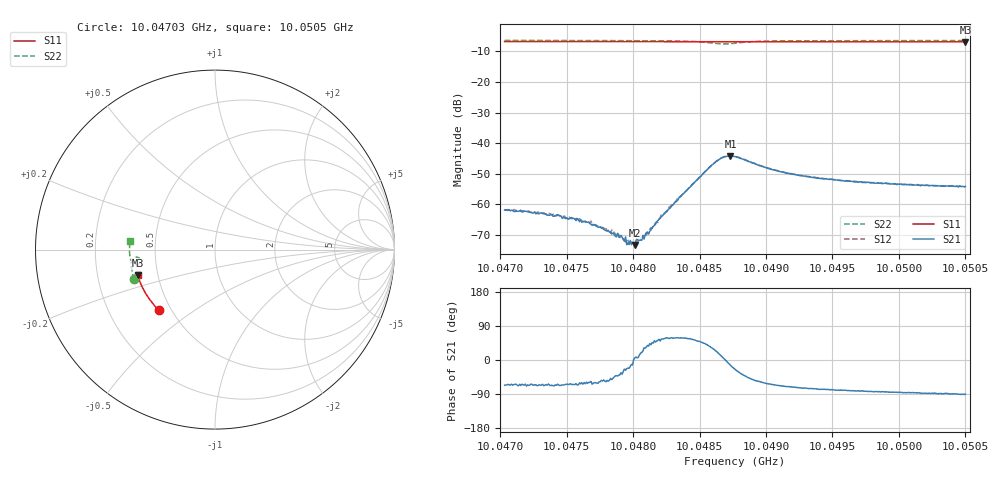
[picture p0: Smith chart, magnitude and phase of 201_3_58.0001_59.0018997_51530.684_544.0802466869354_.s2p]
#  HZ  S  RI  R  50.00
! Rohde & Schwarz Vector Network Analyzer
! Rohde-Schwarz,ZNB20-2Port,1311601062101988,3.16
! Created: UTC 3/21/2024, 12:59:15 AM
! freq[Hz]  re:S11  im:S11  re:S21  im:S21  re:S12  im:S12  re:S22  im:S22
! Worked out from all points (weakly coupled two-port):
!   401 points, 10.04703 GHz to 10.0505 GHz, reference 50 ohm
!   highest |S21| = -44.19 dB at 10.04873 GHz (marker M1); lowest = -73.4 dB at 10.04801 GHz (marker M2)
!   lowest |S11| = -6.9 dB at 10.0505 GHz (marker M3), VSWR 2.67, Z = 19.2 - j6.91 ohm
!   |S11| at or under -10 dB: nowhere
!   |S22| runs from -7.5 to -6.4 dB; largest |S21 - S12| = 0.00045
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1.0047034e10  -0.3143 -0.3365  0.000317 -0.000734  0.000396 -0.00071  -0.4497 -0.166
1.0047441e10  -0.333 -0.3169  0.000266 -0.000596  0.000325 -0.000571  -0.4579 -0.1388
1.0047485e10  -0.3348 -0.3148  0.000248 -0.000544  0.0003 -0.000562  -0.4586 -0.1359
1.0047545e10  -0.3374 -0.3118  0.000252 -0.000525  0.000277 -0.000489  -0.4596 -0.1319
1.0047615e10  -0.3405 -0.3082  0.000252 -0.000435  0.000257 -0.000462  -0.4608 -0.1267
1.0047762e10  -0.3468 -0.3008  0.00024 -0.000327  0.000246 -0.000323  -0.463 -0.1161
1.0047857e10  -0.3507 -0.2958  0.000224 -0.000228  0.000252 -0.000237  -0.464 -0.1089
1.0047901e10  -0.3525 -0.2934  0.000226 -0.000185  0.000227 -0.000173  -0.4646 -0.1057
1.004797e10  -0.3552 -0.29  0.000202 -8.05e-05  0.000206 -7.8e-05  -0.4653 -0.1002
1.0048013e10  -0.3569 -0.2877  0.000213 2.11e-05  0.000214 7.17e-07  -0.4655 -0.0969
1.004803e10  -0.3576 -0.2868  0.000271 2.68e-05  0.000235 5.33e-05  -0.4658 -0.0954
1.0048065e10  -0.359 -0.2849  0.000241 8.47e-05  0.000261 0.000122  -0.466 -0.0923
1.00481e10  -0.3604 -0.2831  0.000282 0.000191  0.000253 0.000173  -0.466 -0.0894
1.0048195e10  -0.3642 -0.2781  0.000325 0.00046  0.000313 0.000476  -0.4661 -0.0808
1.0048594e10  -0.3786 -0.256  0.00372 0.00231  0.0036 0.00253  -0.4344 -0.0421
1.0048663e10  -0.3807 -0.2522  0.00551 0.00107  0.00551 0.00142  -0.4188 -0.0521
1.0048732e10  -0.3831 -0.2487  0.006 -0.00145  0.0061 -0.00108  -0.4186 -0.0725
1.0048767e10  -0.3844 -0.2468  0.00547 -0.00249  0.00564 -0.00214  -0.4253 -0.0797
1.0049053e10  -0.3941 -0.2306  0.00154 -0.0033  0.00175 -0.00324  -0.4658 -0.0636
1.0049347e10  -0.4031 -0.2132  0.000685 -0.00265  0.000844 -0.00264  -0.4739 -0.0367
1.0049928e10  -0.4187 -0.1784  0.000204 -0.00216  0.000289 -0.00214  -0.4766 0.00713
1.00505e10  -0.4313 -0.1429  3.05e-06 -0.00195  8.79e-05 -0.00193  -0.4743 0.0465
